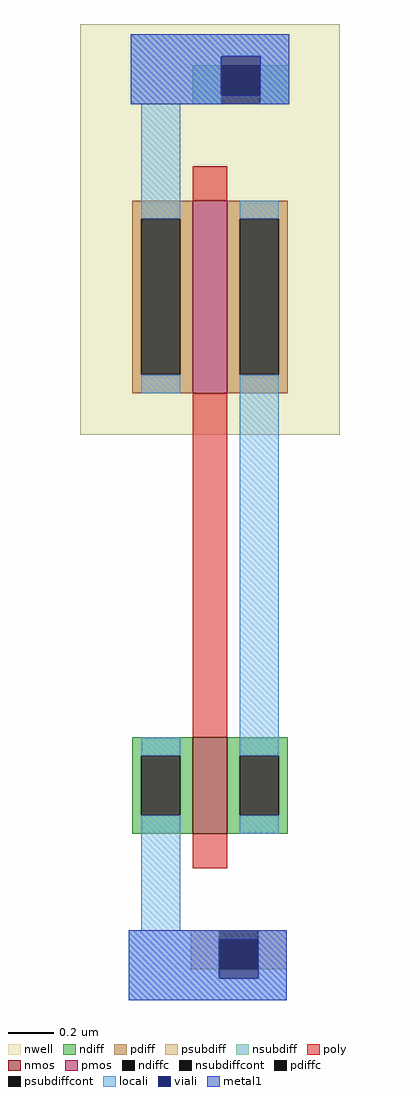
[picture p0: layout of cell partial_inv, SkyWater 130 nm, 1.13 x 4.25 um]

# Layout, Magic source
magic
tech sky130A
magscale 1 2
<< nwell >>
rect -98 348 128 706
<< nmos >>
rect 0 0 30 84
<< pmos >>
rect 0 384 30 552
<< ndiff >>
rect -53 68 0 84
rect -53 16 -45 68
rect -11 16 0 68
rect -53 0 0 16
rect 30 68 83 84
rect 30 16 41 68
rect 75 16 83 68
rect 30 0 83 16
<< pdiff >>
rect -53 536 0 552
rect -53 400 -45 536
rect -11 400 0 536
rect -53 384 0 400
rect 30 536 83 552
rect 30 400 41 536
rect 75 400 83 536
rect 30 384 83 400
<< ndiffc >>
rect -45 16 -11 68
rect 41 16 75 68
<< pdiffc >>
rect -45 400 -11 536
rect 41 400 75 536
<< psubdiff >>
rect -2 -118 23 -84
rect 57 -118 82 -84
<< nsubdiff >>
rect 0 636 25 670
rect 59 636 84 670
<< psubdiffcont >>
rect 23 -118 57 -84
<< nsubdiffcont >>
rect 25 636 59 670
<< poly >>
rect 0 552 30 582
rect 0 84 30 384
rect 0 -30 30 0
<< locali >>
rect -54 678 84 697
rect -54 636 25 678
rect 59 636 84 678
rect -45 536 -11 636
rect -45 384 -11 400
rect 41 536 75 552
rect -45 68 -11 84
rect -45 -84 -11 16
rect 41 68 75 400
rect 41 0 75 16
rect -56 -126 23 -84
rect 57 -126 82 -84
rect -56 -145 82 -126
<< viali >>
rect 25 670 59 678
rect 25 644 59 670
rect 23 -118 57 -92
rect 23 -126 57 -118
<< metal1 >>
rect -54 678 84 697
rect -54 644 25 678
rect 59 644 84 678
rect -54 636 84 644
rect -56 -92 82 -84
rect -56 -126 23 -92
rect 57 -126 82 -92
rect -56 -145 82 -126
<< end >>
